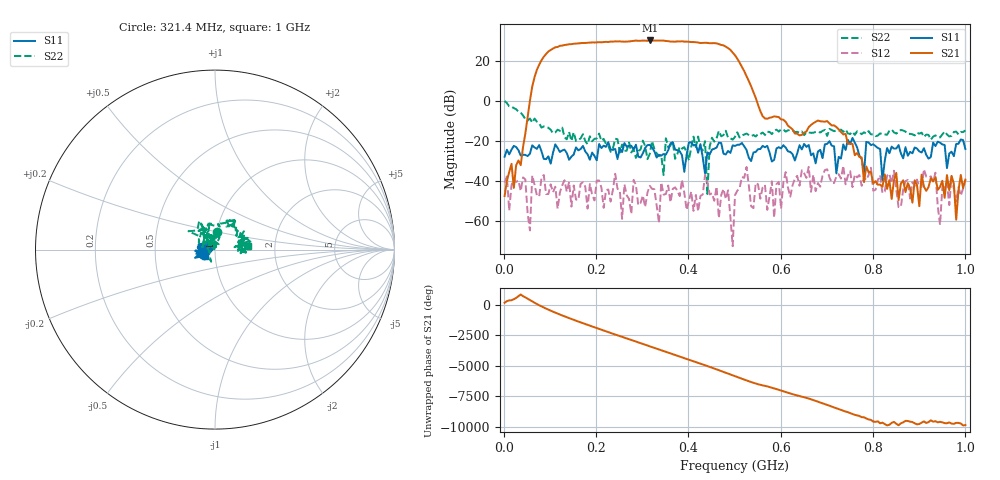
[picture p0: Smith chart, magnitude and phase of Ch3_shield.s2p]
!Keysight Technologies N9923A: A.12.45
!Date: Friday, 10 October 2025 02:30:32
!Timezone: (UTC+08:00) Kuala Lumpur, Singapore
!Model: N9923A
!Serial: MY61181427
!GPS Latitude:
!GPS Longitude:
!GPS TimeStamp: 0001-01-01 00:00:00Z
!GPS Seconds Since Last Read: 0
!CHECKSUM:1537345964
!Correction: S11(ON U?)S21(ON U?)S12(ON U?)S22(ON U?)
!S2P File: Measurements:S11,S21,S12,S22:
# Hz S DB R 50
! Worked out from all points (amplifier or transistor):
!   201 points, 2 MHz to 1 GHz, reference 50 ohm
!   highest |S21| = 30.1 dB at 316.4 MHz (marker M1)
!   |S21| within 3 dB of that: 118.9 MHz to 480.1 MHz (361.3 MHz wide, 121 % of centre)
!   unconditionally stable (mu >= 1): 2.106 MHz to end of sweep
!   at 166.7 MHz: K = 2.19, MAG = 28.9 dB, |S12| = -41.3 dB
!   at 501 MHz: K = 7.87, MAG = 22.9 dB, |S12| = -46.9 dB
!   at 1 GHz: K = 4104.12, MAG = -39.0 dB, |S12| = -39.5 dB
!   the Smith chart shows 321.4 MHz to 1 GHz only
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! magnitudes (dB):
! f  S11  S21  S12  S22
! 2 MHz  -27.8  -47.3  -40.7  0.0
! 46.91 MHz  -26.8  -16.2  -39.1  -9.1
! 56.89 MHz  -26.3  0.2  -64.5  -8.7
! 61.88 MHz  -22.1  7.2  -37.1  -10.8
! 76.85 MHz  -22.0  18.0  -47.6  -11.1
! 171.7 MHz  -22.4  28.9  -40.4  -16.5
! 316.4 MHz  -21.9  30.1  -42.3  -26.4
! 336.3 MHz  -26.8  30.0  -60.8  -27.4
! 341.3 MHz  -27.2  30.1  -40.6  -27.0
! 436.1 MHz  -36.1  29.0  -36.8  -20.0
! 441.1 MHz  -25.6  28.9  -40.1  -46.3
! 451.1 MHz  -24.2  28.8  -46.0  -18.3
! 486 MHz  -24.9  26.3  -44.5  -18.3
! 496 MHz  -22.1  24.1  -72.3  -19.3
! 501 MHz  -22.4  22.8  -46.9  -17.9
! 565.9 MHz  -23.0  -8.7  -41.8  -16.9
! 670.7 MHz  -26.1  -11.0  -36.7  -15.8
! 835.3 MHz  -26.0  -39.4  -36.2  -14.9
! 935.1 MHz  -22.5  -38.0  -35.7  -17.1
! 945.1 MHz  -20.8  -42.8  -61.7  -18.1
! 980 MHz  -21.4  -59.1  -50.1  -15.2
! 1 GHz  -23.9  -39.2  -39.5  -14.7
